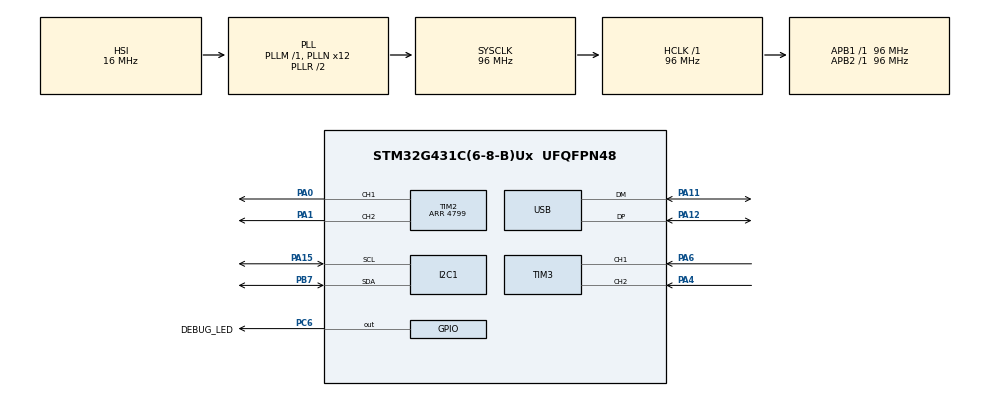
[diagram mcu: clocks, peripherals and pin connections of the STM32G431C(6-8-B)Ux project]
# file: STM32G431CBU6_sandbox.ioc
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I2C1.Timing=0x20B17DB6
Mcu.Family=STM32G4
Mcu.Name=STM32G431C(6-8-B)Ux
Mcu.Package=UFQFPN48
NVIC.PriorityGroup=NVIC_PRIORITYGROUP_4
NVIC.USB_LP_IRQn=true\:0\:0\:false\:false\:true\:false\:true\:true
PA0.Signal=S_TIM2_CH1
PA1.Signal=S_TIM2_CH2
PA11.Mode=Device
PA11.Signal=USB_DM
PA12.Mode=Device
PA12.Signal=USB_DP
PA13.Mode=Serial_Wire
PA13.Signal=SYS_JTMS-SWDIO
PA14.Mode=Serial_Wire
PA14.Signal=SYS_JTCK-SWCLK
PA15.Mode=I2C
PA15.Signal=I2C1_SCL
PA4.Signal=S_TIM3_CH2
PA6.Signal=S_TIM3_CH1
PB7.Mode=I2C
PB7.Signal=I2C1_SDA
PC6.GPIO_Label=DEBUG_LED
PC6.Signal=GPIO_Output
ProjectManager.HeapSize=0x200
ProjectManager.StackSize=0x400
ProjectManager.TargetToolchain=CMake
RCC.ADC12Freq_Value=96000000
RCC.AHBFreq_Value=96000000
RCC.APB1Freq_Value=96000000
RCC.APB1TimFreq_Value=96000000
RCC.APB2Freq_Value=96000000
RCC.APB2TimFreq_Value=96000000
RCC.CK48CLockSelection=RCC_USBCLKSOURCE_HSI48
RCC.CortexFreq_Value=96000000
RCC.EXTERNAL_CLOCK_VALUE=12288000
RCC.HCLKFreq_Value=96000000
RCC.HSE_VALUE=8000000
RCC.HSI48_VALUE=48000000
RCC.HSI_VALUE=16000000
RCC.LSE_VALUE=32768
RCC.PLLN=12
RCC.PLLQ=RCC_PLLQ_DIV4
RCC.SYSCLKFreq_VALUE=96000000
RCC.SYSCLKSource=RCC_SYSCLKSOURCE_PLLCLK
RCC.USBFreq_Value=48000000
RCC.VCOOutputFreq_Value=192000000
SH.S_TIM2_CH1.0=TIM2_CH1,PWM Generation1 CH1
SH.S_TIM2_CH2.0=TIM2_CH2,PWM Generation2 CH2
SH.S_TIM3_CH1.0=TIM3_CH1,Encoder_Interface
SH.S_TIM3_CH2.0=TIM3_CH2,Encoder_Interface
TIM2.Channel-PWM\ Generation1\ CH1=TIM_CHANNEL_1
TIM2.Channel-PWM\ Generation2\ CH2=TIM_CHANNEL_2
TIM2.PeriodNoDither=4799
TIM3.EncoderMode=TIM_ENCODERMODE_TI12
USB_DEVICE.CLASS_NAME_FS=CDC
USB_DEVICE.VirtualMode=Cdc
USB_DEVICE.VirtualModeFS=Cdc_FS
VP_SYS_VS_DBSignals.Mode=DisableDeadBatterySignals
VP_USB_DEVICE_VS_USB_DEVICE_CDC_FS.Mode=CDC_FS
board=custom

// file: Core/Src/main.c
/* USER CODE BEGIN Header */
/**
  ******************************************************************************
  * @file           : main.c
  * @brief          : Main program body
  ******************************************************************************
  * @attention
  *
  * Copyright (c) 2026 STMicroelectronics.
  * All rights reserved.
  *
  * This software is licensed under terms that can be found in the LICENSE file
  * in the root directory of this software component.
  * If no LICENSE file comes with this software, it is provided AS-IS.
  *
  ******************************************************************************
  */
/* USER CODE END Header */
#include "main.h"
#include "i2c.h"
#include "tim.h"
#include "usb_device.h"
#include "gpio.h"

/* USER CODE BEGIN Includes */
#include <stdio.h>
#include <string.h>
#include "usbd_cdc_if.h" // Required for USB-C serial transmission
/* USER CODE END Includes */

/* USER CODE BEGIN PV */
uint8_t mpu6050_address = 0;
uint8_t mpu6050_ready = 0;

// IMU Raw Data
int16_t raw_acc_x = 0, raw_acc_y = 0, raw_acc_z = 0;
int16_t raw_gyro_x = 0, raw_gyro_y = 0, raw_gyro_z = 0;

// Calibration Offsets
int32_t gyro_x_offset = 0, gyro_y_offset = 0, gyro_z_offset = 0;

// USB Buffer
char usb_tx_buffer[192];
/* USER CODE END PV */

void SystemClock_Config(void);

int main(void)
{

  /* MCU Configuration--------------------------------------------------------*/

  /* Reset of all peripherals, Initializes the Flash interface and the Systick. */
  HAL_Init();

  /* Configure the system clock */
  SystemClock_Config();

  /* Initialize all configured peripherals */
  MX_GPIO_Init();
  MX_TIM2_Init();
  MX_TIM3_Init();
  MX_USB_Device_Init();
  MX_I2C1_Init();
/* USER CODE BEGIN 2 */
  HAL_Delay(800);

  // 1. Scan for MPU6050
  for (uint8_t i = 1; i < 128; i++)
  {
      if (HAL_I2C_IsDeviceReady(&hi2c1, (uint16_t)(i << 1), 2, 10) == HAL_OK)
      {
          if ((i == 0x68) || (i == 0x69))
          {
              mpu6050_address = i;
              break;
          }
      }
  }

  // 2. Wake Up Sensor
  if (mpu6050_address != 0)
  {
      uint8_t wake_data = 0x00;
      if (HAL_I2C_Mem_Write(&hi2c1, (uint16_t)(mpu6050_address << 1), 0x6B, 1, &wake_data, 1, 10) == HAL_OK)
      {
          mpu6050_ready = 1;
      }
  }

  // 3. Calibrate Gyroscopes (Keep it still for 1 second!)
  if (mpu6050_ready == 1)
  {
      int32_t sum_gx = 0, sum_gy = 0, sum_gz = 0;
      uint8_t calib_buf[6];

      for (uint16_t i = 0; i < 500; i++)
      {
          if (HAL_I2C_Mem_Read(&hi2c1, (uint16_t)(mpu6050_address << 1), 0x43, 1, calib_buf, 6, 10) == HAL_OK)
          {
              sum_gx += (int16_t)((calib_buf[0] << 8) | calib_buf[1]);
              sum_gy += (int16_t)((calib_buf[2] << 8) | calib_buf[3]);
              sum_gz += (int16_t)((calib_buf[4] << 8) | calib_buf[5]);
          }
          HAL_Delay(2);
      }

      gyro_x_offset = sum_gx / 500;
      gyro_y_offset = sum_gy / 500;
      gyro_z_offset = sum_gz / 500;
  }
/* USER CODE END 2 */

  /* Infinite loop */
/* Infinite loop */
/* Infinite loop */
  /* USER CODE BEGIN WHILE */
  while (1)
  {
      uint8_t i2c_buf[14];
      uint8_t read_ok = 0;

      // Read all 6 axes
      if ((mpu6050_ready != 0) && (HAL_I2C_Mem_Read(&hi2c1, (uint16_t)(mpu6050_address << 1), 0x3B, 1, i2c_buf, 14, 10) == HAL_OK))
      {
          read_ok = 1;
          raw_acc_x = (int16_t)((i2c_buf[0] << 8) | i2c_buf[1]);
          raw_acc_y = (int16_t)((i2c_buf[2] << 8) | i2c_buf[3]);
          raw_acc_z = (int16_t)((i2c_buf[4] << 8) | i2c_buf[5]);

          raw_gyro_x = (int16_t)((i2c_buf[8] << 8)  | i2c_buf[9]);
          raw_gyro_y = (int16_t)((i2c_buf[10] << 8) | i2c_buf[11]);
          raw_gyro_z = (int16_t)((i2c_buf[12] << 8) | i2c_buf[13]);
      }

      int msg_len;

      if (read_ok != 0)
      {
          // Scaled integer output avoids needing float printf support.
          int32_t gx_mdps = ((int32_t)raw_gyro_x - gyro_x_offset) * 1000L / 131L;
          int32_t gy_mdps = ((int32_t)raw_gyro_y - gyro_y_offset) * 1000L / 131L;
          int32_t gz_mdps = ((int32_t)raw_gyro_z - gyro_z_offset) * 1000L / 131L;

          int32_t ax_mmps2 = (int32_t)raw_acc_x * 9810L / 16384L;
          int32_t ay_mmps2 = (int32_t)raw_acc_y * 9810L / 16384L;
          int32_t az_mmps2 = (int32_t)raw_acc_z * 9810L / 16384L;

          msg_len = snprintf(usb_tx_buffer, sizeof(usb_tx_buffer),
                             "Gyro_mdps [X:%ld Y:%ld Z:%ld] Accel_mmps2 [X:%ld Y:%ld Z:%ld] RawAcc [X:%d Y:%d Z:%d]\r\n",
                             (long)gx_mdps, (long)gy_mdps, (long)gz_mdps,
                             (long)ax_mmps2, (long)ay_mmps2, (long)az_mmps2,
                             raw_acc_x, raw_acc_y, raw_acc_z);
      }
      else
      {
          msg_len = snprintf(usb_tx_buffer, sizeof(usb_tx_buffer),
                             "MPU6050 not ready/read failed. addr=0x%02X ready=%u\r\n",
                             mpu6050_address, mpu6050_ready);
      }

      if (msg_len > 0)
      {
          CDC_Transmit_FS((uint8_t*)usb_tx_buffer, (uint16_t)msg_len);
      }

      HAL_Delay(500);
    /* USER CODE END WHILE */

  }
}

void SystemClock_Config(void)
{
  RCC_OscInitTypeDef RCC_OscInitStruct = {0};
  RCC_ClkInitTypeDef RCC_ClkInitStruct = {0};

  /** Configure the main internal regulator output voltage
  */
  HAL_PWREx_ControlVoltageScaling(PWR_REGULATOR_VOLTAGE_SCALE1);

  /** Initializes the RCC Oscillators according to the specified parameters
  * in the RCC_OscInitTypeDef structure.
  */
  RCC_OscInitStruct.OscillatorType = RCC_OSCILLATORTYPE_HSI|RCC_OSCILLATORTYPE_HSI48;
  RCC_OscInitStruct.HSIState = RCC_HSI_ON;
  RCC_OscInitStruct.HSICalibrationValue = RCC_HSICALIBRATION_DEFAULT;
  RCC_OscInitStruct.HSI48State = RCC_HSI48_ON;
  RCC_OscInitStruct.PLL.PLLState = RCC_PLL_ON;
  RCC_OscInitStruct.PLL.PLLSource = RCC_PLLSOURCE_HSI;
  RCC_OscInitStruct.PLL.PLLM = RCC_PLLM_DIV1;
  RCC_OscInitStruct.PLL.PLLN = 12;
  RCC_OscInitStruct.PLL.PLLP = RCC_PLLP_DIV2;
  RCC_OscInitStruct.PLL.PLLQ = RCC_PLLQ_DIV4;
  RCC_OscInitStruct.PLL.PLLR = RCC_PLLR_DIV2;
  if (HAL_RCC_OscConfig(&RCC_OscInitStruct) != HAL_OK)
  {
    Error_Handler();
  }

  /** Initializes the CPU, AHB and APB buses clocks
  */
  RCC_ClkInitStruct.ClockType = RCC_CLOCKTYPE_HCLK|RCC_CLOCKTYPE_SYSCLK
                              |RCC_CLOCKTYPE_PCLK1|RCC_CLOCKTYPE_PCLK2;
  RCC_ClkInitStruct.SYSCLKSource = RCC_SYSCLKSOURCE_PLLCLK;
  RCC_ClkInitStruct.AHBCLKDivider = RCC_SYSCLK_DIV1;
  RCC_ClkInitStruct.APB1CLKDivider = RCC_HCLK_DIV1;
  RCC_ClkInitStruct.APB2CLKDivider = RCC_HCLK_DIV1;

  if (HAL_RCC_ClockConfig(&RCC_ClkInitStruct, FLASH_LATENCY_3) != HAL_OK)
  {
    Error_Handler();
  }
}

void Error_Handler(void)
{
  __disable_irq();
  while (1)
  {
  }
}
